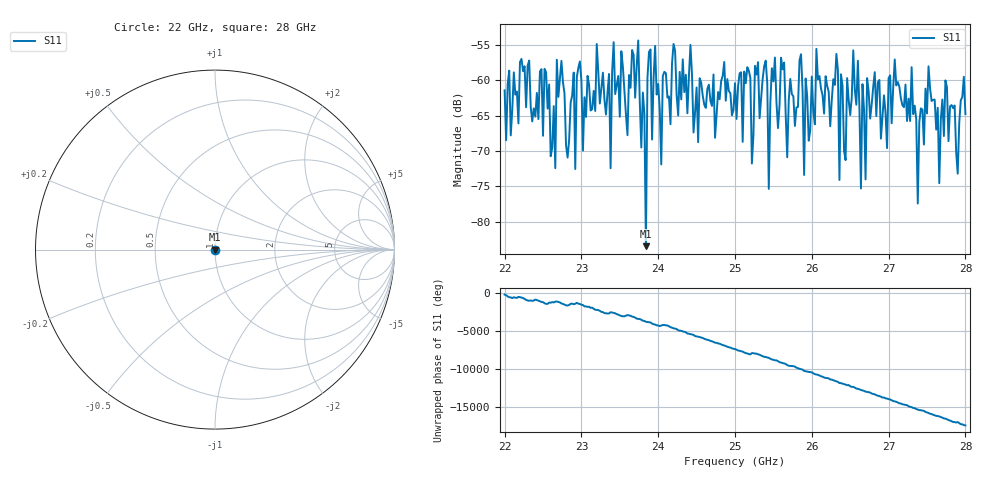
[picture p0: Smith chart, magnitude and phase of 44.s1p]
#  HZ  S  RI  R  50.00
! Rohde & Schwarz ZVA40 4Ports - Version 3.90 - 1145.1110k42 SN: 100403
! Date: 2023-10-04 06:47:00
! Measurement: S12
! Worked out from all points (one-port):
!   301 points, 22 GHz to 28 GHz, reference 50 ohm
!   lowest |S11| = -83.5 dB at 23.84 GHz (marker M1), VSWR 1.00, Z = 50 - j0.00231 ohm
!   |S11| at or under -10 dB: start of sweep to end of sweep
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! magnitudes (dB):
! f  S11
! 22 GHz  -61.4
! 22.52 GHz  -58.4
! 22.66 GHz  -72.4
! 22.68 GHz  -57.1
! 22.76 GHz  -60.3
! 22.9 GHz  -58.9
! 22.92 GHz  -72.5
! 22.98 GHz  -57.3
! 23.5 GHz  -65.1
! 23.74 GHz  -54.3
! 23.84 GHz  -83.5
! 23.88 GHz  -56.0
! 24.04 GHz  -71.9
! 24.2 GHz  -54.8
! 24.26 GHz  -65.0
! 25 GHz  -60.4
! 25.22 GHz  -71.8
! 25.4 GHz  -57.2
! 25.44 GHz  -75.4
! 25.48 GHz  -58.3
! 25.76 GHz  -62.3
! 26.5 GHz  -64.9
! 27.26 GHz  -62.6
! 27.38 GHz  -77.4
! 27.52 GHz  -58.0
! 27.66 GHz  -74.6
! 27.74 GHz  -60.0
! 28 GHz  -64.8
